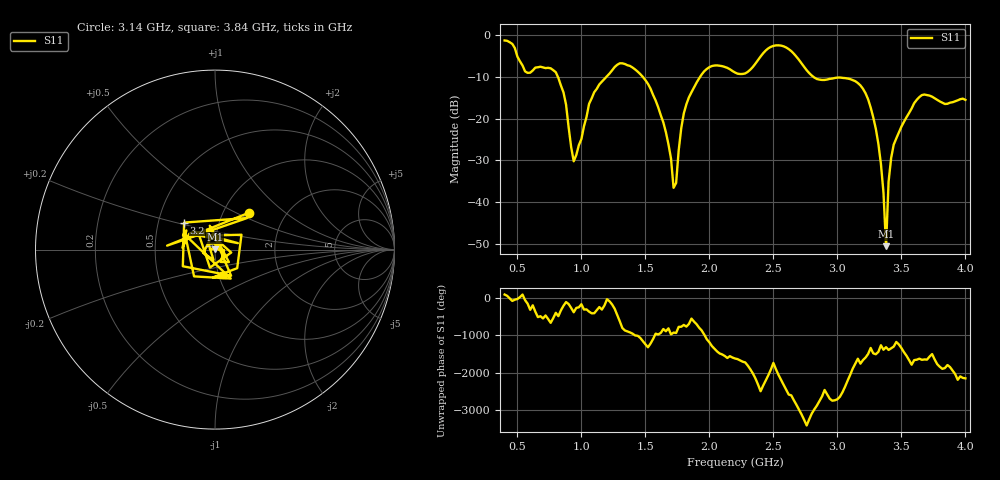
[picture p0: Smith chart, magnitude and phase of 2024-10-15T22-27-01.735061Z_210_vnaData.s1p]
! Created with skrf (http://scikit-rf.org).
# Hz S RI R 50.0
!freq ReS11 ImS11
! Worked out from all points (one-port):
!   181 points, 400 MHz to 4 GHz, reference 50 ohm
!   lowest |S11| = -50.6 dB at 3.38 GHz (marker M1), VSWR 1.01, Z = 49.8 + j0.246 ohm
!   |S11| at or under -10 dB: 816.8 MHz to 1.193 GHz (376.3 MHz wide, 37.4 % of centre); 1.481 GHz to 1.926 GHz (445.3 MHz wide, 26.1 % of centre); 2.815 GHz to end of sweep
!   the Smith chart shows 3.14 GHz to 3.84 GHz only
!   S11 on the Smith chart (normalised r, x): 3.14 GHz: 1.32, +0.59; 3.2 GHz: 0.68, +0.22; 3.84 GHz: 1.05, -0.31
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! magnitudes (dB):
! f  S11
! 400 MHz  -1.2
! 860 MHz  -13.7
! 940 MHz  -30.2
! 1.1 GHz  -13.6
! 1.3 GHz  -6.7
! 1.54 GHz  -12.8
! 1.66 GHz  -23.2
! 1.72 GHz  -36.6
! 1.74 GHz  -35.4
! 1.76 GHz  -27.6
! 1.82 GHz  -16.5
! 1.94 GHz  -9.4
! 2.2 GHz  -8.9
! 2.5 GHz  -2.5
! 2.66 GHz  -4.4
! 2.84 GHz  -10.5
! 3.1 GHz  -10.5
! 3.14 GHz  -11.0
! 3.2 GHz  -12.8
! 3.32 GHz  -26.0
! 3.36 GHz  -37.7
! 3.38 GHz  -50.6
! 3.4 GHz  -35.1
! 3.42 GHz  -29.4
! 3.56 GHz  -18.6
! 3.66 GHz  -14.3
! 3.84 GHz  -16.5
! 4 GHz  -15.5
